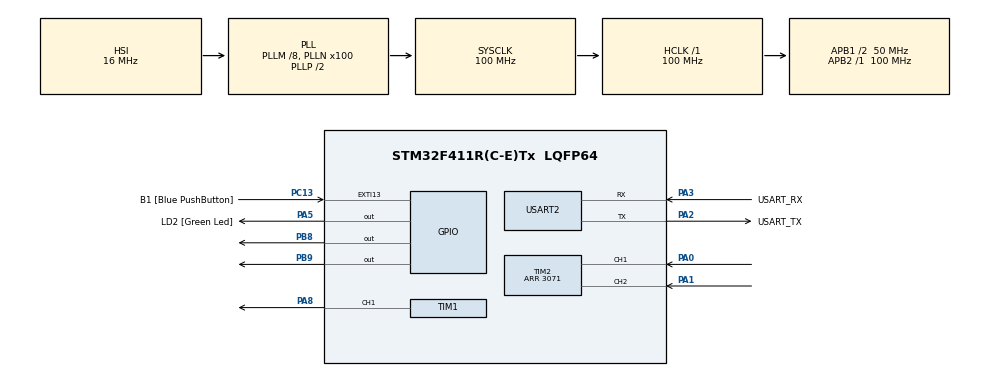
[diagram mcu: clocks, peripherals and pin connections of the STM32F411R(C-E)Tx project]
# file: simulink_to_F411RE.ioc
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Mcu.Family=STM32F4
VP_TIM5_VS_ClockSourceINT.Mode=Internal
RCC.CortexFreq_Value=100000000
PA14.GPIO_Label=TCK
PB9.GPIO_ModeDefaultOutputPP=GPIO_MODE_OUTPUT_OD
TIM2.EncoderMode=TIM_ENCODERMODE_TI12
RCC.SYSCLKSource=RCC_SYSCLKSOURCE_PLLCLK
ProjectManager.StackSize=0x400
TIM1.Prescaler=99
PH0\ -\ OSC_IN.Signal=RCC_OSC_IN
NVIC.TIM5_IRQn=true\:0\:0\:false\:false\:true\:true\:true
Dma.USART2_RX.0.Priority=DMA_PRIORITY_LOW
Dma.USART2_RX.0.PeriphDataAlignment=DMA_PDATAALIGN_BYTE
RCC.HCLKFreq_Value=100000000
RCC.APB2TimFreq_Value=100000000
RCC.AHBFreq_Value=100000000
RCC.HSE_VALUE=8000000
PC13-ANTI_TAMP.Signal=GPXTI13
Dma.USART2_RX.0.MemDataAlignment=DMA_MDATAALIGN_BYTE
PC14-OSC32_IN.Mode=LSE-External-Oscillator
TIM1.Channel-PWM\ Generation1\ CH1=TIM_CHANNEL_1
PA14.Mode=Serial_Wire
Dma.USART2_RX.0.Instance=DMA1_Stream5
PA8.Signal=S_TIM1_CH1
VP_TIM1_VS_ClockSourceINT.Mode=Internal
RCC.FLatency-AdvancedSettings=FLASH_LATENCY_3
Mcu.Package=LQFP64
PB9.Signal=GPIO_Output
Dma.USART2_RX.0.PeriphInc=DMA_PINC_DISABLE
USART2.VirtualMode=VM_ASYNC
Dma.USART2_RX.0.FIFOMode=DMA_FIFOMODE_DISABLE
PA2.GPIO_Label=USART_TX
PB9.GPIO_PuPd=GPIO_PULLUP
PB8.GPIO_ModeDefaultOutputPP=GPIO_MODE_OUTPUT_OD
RCC.APB1TimFreq_Value=100000000
TIM1.Period=9999
Dma.Request0=USART2_RX
PA3.Signal=USART2_RX
PB3.GPIO_Label=SWO
PC15-OSC32_OUT.Mode=LSE-External-Oscillator
PC13-ANTI_TAMP.GPIO_Label=B1 [Blue PushButton]
TIM2.IC1Filter=4
PH1\ -\ OSC_OUT.Mode=HSE-External-Clock-Source
PB8.GPIO_PuPd=GPIO_PULLUP
Dma.USART2_RX.0.Direction=DMA_PERIPH_TO_MEMORY
RCC.APB1CLKDivider=RCC_HCLK_DIV2
PC14-OSC32_IN.Signal=RCC_OSC32_IN
NVIC.USART2_IRQn=true\:0\:0\:false\:false\:true\:true\:true
PA0-WKUP.Signal=S_TIM2_CH1_ETR
Dma.USART2_RX.0.Mode=DMA_CIRCULAR
PA13.Signal=SYS_JTMS-SWDIO
PA3.Mode=Asynchronous
SH.S_TIM2_CH2.0=TIM2_CH2,Encoder_Interface
PH0\ -\ OSC_IN.Mode=HSE-External-Clock-Source
SH.S_TIM1_CH1.0=TIM1_CH1,PWM Generation1 CH1
ProjectManager.TargetToolchain=STM32CubeIDE
NVIC.DMA1_Stream5_IRQn=true\:0\:0\:false\:false\:true\:false\:true
PC15-OSC32_OUT.Signal=RCC_OSC32_OUT
PA1.Signal=S_TIM2_CH2
PA5.Signal=GPIO_Output
PH1\ -\ OSC_OUT.Signal=RCC_OSC_OUT
board=NUCLEO-F411RE
RCC.VCOOutputFreq_Value=200000000
RCC.APB2Freq_Value=100000000
TIM2.Period=3071
PA13.Mode=Serial_Wire
Mcu.Name=STM32F411R(C-E)Tx
Dma.USART2_RX.0.MemInc=DMA_MINC_ENABLE
PA13.GPIO_Label=TMS
PA2.Signal=USART2_TX
RCC.48MHZClocksFreq_Value=50000000
PB3.Signal=SYS_JTDO-SWO
RCC.SYSCLKFreq_VALUE=100000000
PA5.GPIO_Label=LD2 [Green Led]
TIM5.Prescaler=99
PC13-ANTI_TAMP.GPIO_ModeDefaultEXTI=GPIO_MODE_IT_FALLING
SH.S_TIM2_CH1_ETR.0=TIM2_CH1,Encoder_Interface
PA14.Signal=SYS_JTCK-SWCLK
ProjectManager.HeapSize=0x200
RCC.HSI_VALUE=16000000
NVIC.PriorityGroup=NVIC_PRIORITYGROUP_0
RCC.PLLM=8
RCC.PLLN=100
PB8.Signal=GPIO_Output
PA2.Mode=Asynchronous
TIM5.Period=9999
RCC.APB1Freq_Value=50000000
TIM2.IC2Filter=4
PA3.GPIO_Label=USART_RX

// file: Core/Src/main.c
/* USER CODE BEGIN Header */
/**
  ******************************************************************************
  * @file           : main.c
  * @brief          : Main program body
  ******************************************************************************
  * @attention
  *
  * <h2><center>&copy; Copyright (c) 2022 STMicroelectronics.
  * All rights reserved.</center></h2>
  *
  * This software component is licensed by ST under BSD 3-Clause license,
  * the "License"; You may not use this file except in compliance with the
  * License. You may obtain a copy of the License at:
  *                        opensource.org/licenses/BSD-3-Clause
  *
  ******************************************************************************
  */
/* USER CODE END Header */
#include "main.h"

TIM_HandleTypeDef htim1;
TIM_HandleTypeDef htim2;
TIM_HandleTypeDef htim5;

UART_HandleTypeDef huart2;
DMA_HandleTypeDef hdma_usart2_rx;

/* USER CODE BEGIN PV */
int8_t RxBuffer[64]={0};

uint8_t data[7]={73,109,64,99,0,0,126};

void uartprotocol();
void Drivemotor(int PWM);
/* USER CODE END PV */

void SystemClock_Config(void);
static void MX_GPIO_Init(void);
static void MX_DMA_Init(void);
static void MX_USART2_UART_Init(void);
static void MX_TIM1_Init(void);
static void MX_TIM5_Init(void);
static void MX_TIM2_Init(void);

int main(void)
{

  /* MCU Configuration--------------------------------------------------------*/

  /* Reset of all peripherals, Initializes the Flash interface and the Systick. */
  HAL_Init();

  /* Configure the system clock */
  SystemClock_Config();

  /* Initialize all configured peripherals */
  MX_GPIO_Init();
  MX_DMA_Init();
  MX_USART2_UART_Init();
  MX_TIM1_Init();
  MX_TIM5_Init();
  MX_TIM2_Init();
  /* USER CODE BEGIN 2 */

  HAL_UART_Receive_DMA(&huart2,RxBuffer, 64);
  HAL_TIM_PWM_Start(&htim1, TIM_CHANNEL_1);

  HAL_TIM_Encoder_Start(&htim2,TIM_CHANNEL_ALL);
  HAL_UART_Transmit_IT(&huart2, data, 7);
  HAL_TIM_Base_Start_IT(&htim5);
  /* USER CODE END 2 */

  /* Infinite loop */
  /* USER CODE BEGIN WHILE */
  while (1)
  {
	  uartprotocol();

    /* USER CODE END WHILE */

  }
}

void SystemClock_Config(void)
{
  RCC_OscInitTypeDef RCC_OscInitStruct = {0};
  RCC_ClkInitTypeDef RCC_ClkInitStruct = {0};

  /** Configure the main internal regulator output voltage
  */
  __HAL_RCC_PWR_CLK_ENABLE();
  __HAL_PWR_VOLTAGESCALING_CONFIG(PWR_REGULATOR_VOLTAGE_SCALE1);
  /** Initializes the RCC Oscillators according to the specified parameters
  * in the RCC_OscInitTypeDef structure.
  */
  RCC_OscInitStruct.OscillatorType = RCC_OSCILLATORTYPE_HSI;
  RCC_OscInitStruct.HSIState = RCC_HSI_ON;
  RCC_OscInitStruct.HSICalibrationValue = RCC_HSICALIBRATION_DEFAULT;
  RCC_OscInitStruct.PLL.PLLState = RCC_PLL_ON;
  RCC_OscInitStruct.PLL.PLLSource = RCC_PLLSOURCE_HSI;
  RCC_OscInitStruct.PLL.PLLM = 8;
  RCC_OscInitStruct.PLL.PLLN = 100;
  RCC_OscInitStruct.PLL.PLLP = RCC_PLLP_DIV2;
  RCC_OscInitStruct.PLL.PLLQ = 4;
  if (HAL_RCC_OscConfig(&RCC_OscInitStruct) != HAL_OK)
  {
    Error_Handler();
  }
  /** Initializes the CPU, AHB and APB buses clocks
  */
  RCC_ClkInitStruct.ClockType = RCC_CLOCKTYPE_HCLK|RCC_CLOCKTYPE_SYSCLK
                              |RCC_CLOCKTYPE_PCLK1|RCC_CLOCKTYPE_PCLK2;
  RCC_ClkInitStruct.SYSCLKSource = RCC_SYSCLKSOURCE_PLLCLK;
  RCC_ClkInitStruct.AHBCLKDivider = RCC_SYSCLK_DIV1;
  RCC_ClkInitStruct.APB1CLKDivider = RCC_HCLK_DIV2;
  RCC_ClkInitStruct.APB2CLKDivider = RCC_HCLK_DIV1;

  if (HAL_RCC_ClockConfig(&RCC_ClkInitStruct, FLASH_LATENCY_3) != HAL_OK)
  {
    Error_Handler();
  }
}

static void MX_TIM1_Init(void)
{

  TIM_ClockConfigTypeDef sClockSourceConfig = {0};
  TIM_MasterConfigTypeDef sMasterConfig = {0};
  TIM_OC_InitTypeDef sConfigOC = {0};
  TIM_BreakDeadTimeConfigTypeDef sBreakDeadTimeConfig = {0};

  htim1.Instance = TIM1;
  htim1.Init.Prescaler = 99;
  htim1.Init.CounterMode = TIM_COUNTERMODE_UP;
  htim1.Init.Period = 9999;
  htim1.Init.ClockDivision = TIM_CLOCKDIVISION_DIV1;
  htim1.Init.RepetitionCounter = 0;
  htim1.Init.AutoReloadPreload = TIM_AUTORELOAD_PRELOAD_DISABLE;
  if (HAL_TIM_Base_Init(&htim1) != HAL_OK)
  {
    Error_Handler();
  }
  sClockSourceConfig.ClockSource = TIM_CLOCKSOURCE_INTERNAL;
  if (HAL_TIM_ConfigClockSource(&htim1, &sClockSourceConfig) != HAL_OK)
  {
    Error_Handler();
  }
  if (HAL_TIM_PWM_Init(&htim1) != HAL_OK)
  {
    Error_Handler();
  }
  sMasterConfig.MasterOutputTrigger = TIM_TRGO_RESET;
  sMasterConfig.MasterSlaveMode = TIM_MASTERSLAVEMODE_DISABLE;
  if (HAL_TIMEx_MasterConfigSynchronization(&htim1, &sMasterConfig) != HAL_OK)
  {
    Error_Handler();
  }
  sConfigOC.OCMode = TIM_OCMODE_PWM1;
  sConfigOC.Pulse = 0;
  sConfigOC.OCPolarity = TIM_OCPOLARITY_HIGH;
  sConfigOC.OCNPolarity = TIM_OCNPOLARITY_HIGH;
  sConfigOC.OCFastMode = TIM_OCFAST_DISABLE;
  sConfigOC.OCIdleState = TIM_OCIDLESTATE_RESET;
  sConfigOC.OCNIdleState = TIM_OCNIDLESTATE_RESET;
  if (HAL_TIM_PWM_ConfigChannel(&htim1, &sConfigOC, TIM_CHANNEL_1) != HAL_OK)
  {
    Error_Handler();
  }
  sBreakDeadTimeConfig.OffStateRunMode = TIM_OSSR_DISABLE;
  sBreakDeadTimeConfig.OffStateIDLEMode = TIM_OSSI_DISABLE;
  sBreakDeadTimeConfig.LockLevel = TIM_LOCKLEVEL_OFF;
  sBreakDeadTimeConfig.DeadTime = 0;
  sBreakDeadTimeConfig.BreakState = TIM_BREAK_DISABLE;
  sBreakDeadTimeConfig.BreakPolarity = TIM_BREAKPOLARITY_HIGH;
  sBreakDeadTimeConfig.AutomaticOutput = TIM_AUTOMATICOUTPUT_DISABLE;
  if (HAL_TIMEx_ConfigBreakDeadTime(&htim1, &sBreakDeadTimeConfig) != HAL_OK)
  {
    Error_Handler();
  }
  HAL_TIM_MspPostInit(&htim1);

}

static void MX_TIM2_Init(void)
{

  TIM_Encoder_InitTypeDef sConfig = {0};
  TIM_MasterConfigTypeDef sMasterConfig = {0};

  htim2.Instance = TIM2;
  htim2.Init.Prescaler = 0;
  htim2.Init.CounterMode = TIM_COUNTERMODE_UP;
  htim2.Init.Period = 3071;
  htim2.Init.ClockDivision = TIM_CLOCKDIVISION_DIV1;
  htim2.Init.AutoReloadPreload = TIM_AUTORELOAD_PRELOAD_DISABLE;
  sConfig.EncoderMode = TIM_ENCODERMODE_TI12;
  sConfig.IC1Polarity = TIM_ICPOLARITY_RISING;
  sConfig.IC1Selection = TIM_ICSELECTION_DIRECTTI;
  sConfig.IC1Prescaler = TIM_ICPSC_DIV1;
  sConfig.IC1Filter = 4;
  sConfig.IC2Polarity = TIM_ICPOLARITY_RISING;
  sConfig.IC2Selection = TIM_ICSELECTION_DIRECTTI;
  sConfig.IC2Prescaler = TIM_ICPSC_DIV1;
  sConfig.IC2Filter = 4;
  if (HAL_TIM_Encoder_Init(&htim2, &sConfig) != HAL_OK)
  {
    Error_Handler();
  }
  sMasterConfig.MasterOutputTrigger = TIM_TRGO_RESET;
  sMasterConfig.MasterSlaveMode = TIM_MASTERSLAVEMODE_DISABLE;
  if (HAL_TIMEx_MasterConfigSynchronization(&htim2, &sMasterConfig) != HAL_OK)
  {
    Error_Handler();
  }

}

static void MX_TIM5_Init(void)
{

  TIM_ClockConfigTypeDef sClockSourceConfig = {0};
  TIM_MasterConfigTypeDef sMasterConfig = {0};

  htim5.Instance = TIM5;
  htim5.Init.Prescaler = 99;
  htim5.Init.CounterMode = TIM_COUNTERMODE_UP;
  htim5.Init.Period = 9999;
  htim5.Init.ClockDivision = TIM_CLOCKDIVISION_DIV1;
  htim5.Init.AutoReloadPreload = TIM_AUTORELOAD_PRELOAD_DISABLE;
  if (HAL_TIM_Base_Init(&htim5) != HAL_OK)
  {
    Error_Handler();
  }
  sClockSourceConfig.ClockSource = TIM_CLOCKSOURCE_INTERNAL;
  if (HAL_TIM_ConfigClockSource(&htim5, &sClockSourceConfig) != HAL_OK)
  {
    Error_Handler();
  }
  sMasterConfig.MasterOutputTrigger = TIM_TRGO_RESET;
  sMasterConfig.MasterSlaveMode = TIM_MASTERSLAVEMODE_DISABLE;
  if (HAL_TIMEx_MasterConfigSynchronization(&htim5, &sMasterConfig) != HAL_OK)
  {
    Error_Handler();
  }

}

static void MX_USART2_UART_Init(void)
{

  huart2.Instance = USART2;
  huart2.Init.BaudRate = 115200;
  huart2.Init.WordLength = UART_WORDLENGTH_8B;
  huart2.Init.StopBits = UART_STOPBITS_1;
  huart2.Init.Parity = UART_PARITY_NONE;
  huart2.Init.Mode = UART_MODE_TX_RX;
  huart2.Init.HwFlowCtl = UART_HWCONTROL_NONE;
  huart2.Init.OverSampling = UART_OVERSAMPLING_16;
  if (HAL_UART_Init(&huart2) != HAL_OK)
  {
    Error_Handler();
  }

}

static void MX_DMA_Init(void)
{

  /* DMA controller clock enable */
  __HAL_RCC_DMA1_CLK_ENABLE();

  /* DMA interrupt init */
  /* DMA1_Stream5_IRQn interrupt configuration */
  HAL_NVIC_SetPriority(DMA1_Stream5_IRQn, 0, 0);
  HAL_NVIC_EnableIRQ(DMA1_Stream5_IRQn);

}

static void MX_GPIO_Init(void)
{
  GPIO_InitTypeDef GPIO_InitStruct = {0};

  /* GPIO Ports Clock Enable */
  __HAL_RCC_GPIOC_CLK_ENABLE();
  __HAL_RCC_GPIOH_CLK_ENABLE();
  __HAL_RCC_GPIOA_CLK_ENABLE();
  __HAL_RCC_GPIOB_CLK_ENABLE();

  /*Configure GPIO pin Output Level */
  HAL_GPIO_WritePin(LD2_GPIO_Port, LD2_Pin, GPIO_PIN_RESET);

  /*Configure GPIO pin Output Level */
  HAL_GPIO_WritePin(GPIOB, GPIO_PIN_8|GPIO_PIN_9, GPIO_PIN_RESET);

  /*Configure GPIO pin : B1_Pin */
  GPIO_InitStruct.Pin = B1_Pin;
  GPIO_InitStruct.Mode = GPIO_MODE_IT_FALLING;
  GPIO_InitStruct.Pull = GPIO_NOPULL;
  HAL_GPIO_Init(B1_GPIO_Port, &GPIO_InitStruct);

  /*Configure GPIO pin : LD2_Pin */
  GPIO_InitStruct.Pin = LD2_Pin;
  GPIO_InitStruct.Mode = GPIO_MODE_OUTPUT_PP;
  GPIO_InitStruct.Pull = GPIO_NOPULL;
  GPIO_InitStruct.Speed = GPIO_SPEED_FREQ_LOW;
  HAL_GPIO_Init(LD2_GPIO_Port, &GPIO_InitStruct);

  /*Configure GPIO pins : PB8 PB9 */
  GPIO_InitStruct.Pin = GPIO_PIN_8|GPIO_PIN_9;
  GPIO_InitStruct.Mode = GPIO_MODE_OUTPUT_OD;
  GPIO_InitStruct.Pull = GPIO_PULLUP;
  GPIO_InitStruct.Speed = GPIO_SPEED_FREQ_LOW;
  HAL_GPIO_Init(GPIOB, &GPIO_InitStruct);

}

/* USER CODE BEGIN 4 */
uint8_t Posdata=0;
uint8_t PosdataPre=0;

int32_t valueuart=0;
uint8_t stateuart=0;
void uartprotocol(){
	static int8_t tempuart=0;
	Posdata=huart2.RxXferSize-huart2.hdmarx->Instance->NDTR;
	if(Posdata!=PosdataPre ){

		switch(stateuart){
			case 0:
				if(RxBuffer[PosdataPre]==73){
					stateuart=1;

				}else{
					stateuart=0;
				}
			break;
			case 1:
				if(RxBuffer[PosdataPre]==109){
					stateuart=2;

				}else{
					stateuart=0;
				}
			break;
			case 2:
				if(RxBuffer[PosdataPre]==64){
					stateuart=3;

				}else{
					stateuart=0;
				}
			break;
			case 3:
				if(RxBuffer[PosdataPre]==99){
					stateuart=4;

				}else{
					stateuart=0;
				}
			break;
			case 4:
				tempuart=RxBuffer[PosdataPre];
				stateuart=5;
			break;
			case 5:
				if(RxBuffer[PosdataPre]==126){
					valueuart=(int32_t)tempuart;
					valueuart=(valueuart*10000)/255;
//					htim1.Instance->CCR1=(valueuart*10000)/255;
					Drivemotor(valueuart);
					stateuart=0;

				}else{
					stateuart=0;
				}
			break;

		}

		PosdataPre=(PosdataPre+1)%64;
	}

}

uint16_t value=0;
void HAL_TIM_PeriodElapsedCallback(TIM_HandleTypeDef *htim){
	if (htim == &htim5){
		value=htim2.Instance->CNT;
		data[5]=(value&0b1111111100000000) >>8;
		data[4]=value&0b11111111;
		HAL_UART_Transmit_IT(&huart2, data, 7);
	}
}

uint32_t aaabs(int x){

	if(x<0){
		return x*-1;
	}else{
		return x;
	}
}

void Drivemotor(int PWM){
	if(PWM<=0 && PWM>=-10000){
		htim1.Instance->CCR1=aaabs(PWM);
		HAL_GPIO_WritePin(GPIOB, GPIO_PIN_8,1);
		HAL_GPIO_WritePin(GPIOB, GPIO_PIN_9,0);
	}else if (PWM<-10000){
		htim1.Instance->CCR1=10000;
		HAL_GPIO_WritePin(GPIOB, GPIO_PIN_8,1);
		HAL_GPIO_WritePin(GPIOB, GPIO_PIN_9,0);
	}else if(PWM>=0 && PWM<=10000){
		htim1.Instance->CCR1=aaabs(PWM);
		HAL_GPIO_WritePin(GPIOB, GPIO_PIN_8,0);
		HAL_GPIO_WritePin(GPIOB, GPIO_PIN_9,1);
	}else if(PWM>10000){
		htim1.Instance->CCR1=10000;
		HAL_GPIO_WritePin(GPIOB, GPIO_PIN_8,0);
		HAL_GPIO_WritePin(GPIOB, GPIO_PIN_9,1);
	}

}
/* USER CODE END 4 */

void Error_Handler(void)
{
  __disable_irq();
  while (1)
  {
  }
}

/************************ (C) COPYRIGHT STMicroelectronics *****END OF FILE****/
